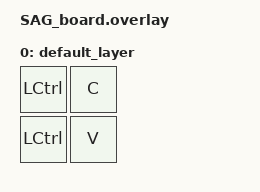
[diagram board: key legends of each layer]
/*
 * Copyright (c) 2022 The ZMK Contributors
 *
 * SPDX-License-Identifier: MIT
 */

#include <behaviors.dtsi>
#include <dt-bindings/zmk/keys.h>
#include <dt-bindings/zmk/bt.h>

/ {
    chosen {
        zmk,matrix = &matrix;
    };

    matrix: matrix {
        compatible = "zmk,matrix";
        rows = <1>;
        cols = <2>;
        row-gpios = <&gpio0 0 GPIO_ACTIVE_HIGH>;  // Pin D3 (P0.03) para la fila
        col-gpios = <&gpio0 4 GPIO_ACTIVE_HIGH    // Pin D1 (P0.08) para la columna 1
                     &gpio0 6 GPIO_ACTIVE_HIGH>;  // Pin D2 (P0.06) para la columna 2
    };

    keymap {
        compatible = "zmk,keymap";
        default_layer {
            bindings = <
                &kp LCTRL &kp C  // Tecla 1: Copiar (Ctrl + C)
                &kp LCTRL &kp V  // Tecla 2: Pegar (Ctrl + V)
            >;
        };
    };
};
